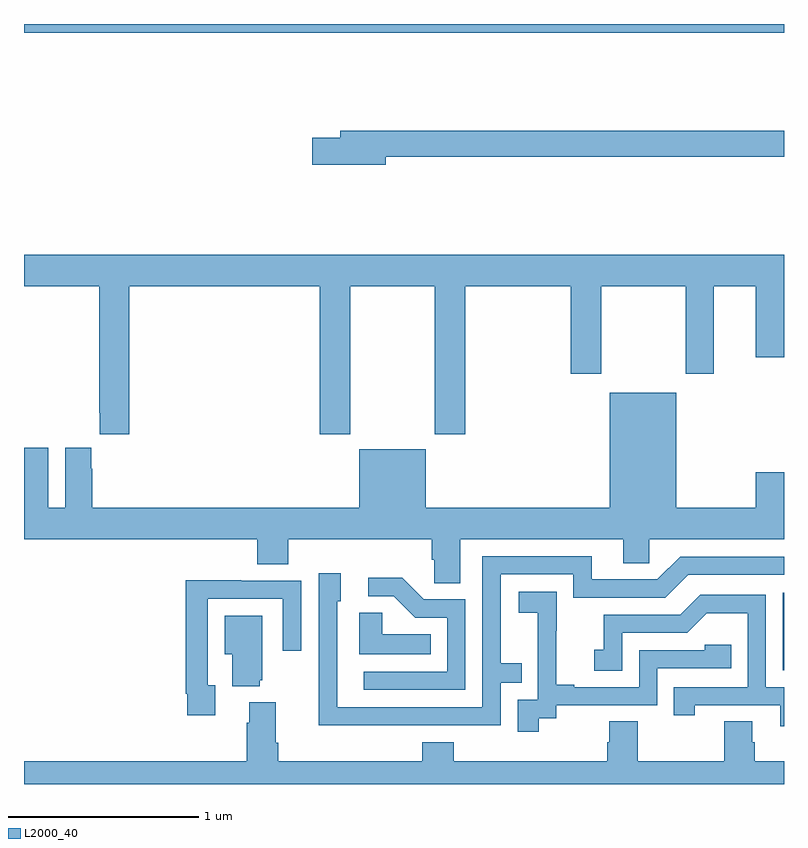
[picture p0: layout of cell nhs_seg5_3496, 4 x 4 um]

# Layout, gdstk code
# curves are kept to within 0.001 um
import gdstk
lib = gdstk.Library(unit=1e-6, precision=1e-09)
def R(c, l, rs):  # rectangles x0, y0, x1, y1
    for r in rs: c.add(gdstk.rectangle(r[:2], r[2:], *l))
def P(c, l, *ps):  # polygons
    for p in ps: c.add(gdstk.Polygon(p, *l))
L2000_40 = (2000, 40)

nhs_seg5_3496 = lib.new_cell('nhs_seg5_3496')
R(nhs_seg5_3496, L2000_40, [(320.994,861.399,321,861.805), (317,864.752,321,864.799)])
P(nhs_seg5_3496, L2000_40, [(318.904,864.1),(321,864.1),(321,864.236),(318.665,864.236),(318.665,864.2),(318.516,864.2),(318.516,864.058),(318.904,864.058)],
  [(317,863.42),(317.395,863.42),(317.395,862.753),(317.399,862.753),(317.399,862.641),(317.555,862.641),(317.555,863.42),(318.557,863.42),(318.557,862.641),(318.717,862.641),(318.717,863.42),(319.162,863.42),(319.162,862.641),(319.322,862.641),(319.322,863.42),(319.877,863.42),(319.877,862.959),(320.037,862.959),(320.037,863.42),(320.482,863.42),(320.482,862.959),(320.629,862.959),(320.629,863.42),(320.852,863.42),(320.852,863.046),(321,863.046),(321,863.584),(317,863.584)],
  [(318.227,861.955),(318.392,861.955),(318.392,862.088),(319.145,862.088),(319.145,861.979),(319.158,861.979),(319.158,861.856),(319.297,861.856),(319.297,862.088),(320.153,862.088),(320.153,861.961),(320.292,861.961),(320.292,862.088),(321,862.088),(321,862.441),(320.852,862.441),(320.852,862.252),(320.434,862.252),(320.434,862.858),(320.084,862.858),(320.084,862.252),(319.114,862.252),(319.114,862.561),(318.764,862.561),(318.764,862.252),(317.36,862.252),(317.36,862.457),(317.353,862.457),(317.353,862.57),(317.216,862.57),(317.216,862.252),(317.128,862.252),(317.128,862.57),(317,862.57),(317,862.088),(318.227,862.088)],
  [(319.013,861.108),(319.509,861.108),(319.509,861.333),(319.619,861.333),(319.619,861.434),(319.509,861.434),(319.509,861.903),(319.89,861.903),(319.89,861.78),(320.376,861.78),(320.496,861.9),(321,861.9),(321,861.996),(320.454,861.996),(320.334,861.876),(319.987,861.876),(319.987,861.999),(319.413,861.999),(319.413,861.204),(318.648,861.204),(318.648,861.762),(318.667,861.762),(318.667,861.907),(318.552,861.907),(318.552,861.413),(318.55,861.413),(318.55,861.107)],
  [(319.323,861.771),(319.104,861.771),(318.991,861.884),(318.813,861.884),(318.813,861.786),(318.947,861.786),(319.058,861.675),(319.227,861.675),(319.227,861.39),(318.789,861.39),(318.789,861.294),(319.323,861.294)],
  [(318.007,861.318),(317.967,861.318),(317.967,861.774),(318.363,861.774),(318.363,861.501),(318.459,861.501),(318.459,861.87),(318.143,861.87),(318.143,861.872),(317.851,861.872),(317.851,861.274),(317.859,861.274),(317.859,861.162),(318.007,861.162)],
  [(319.708,861.145),(319.8,861.145),(319.8,861.213),(320.334,861.213),(320.334,861.408),(320.723,861.408),(320.723,861.531),(320.583,861.531),(320.583,861.504),(320.238,861.504),(320.238,861.309),(319.897,861.309),(319.897,861.322),(319.802,861.322),(319.802,861.605),(319.803,861.605),(319.803,861.811),(319.605,861.811),(319.605,861.701),(319.703,861.701),(319.703,861.473),(319.704,861.473),(319.704,861.243),(319.599,861.243),(319.599,861.075),(319.708,861.075)],
  [(321,861.309),(320.904,861.309),(320.904,861.795),(320.558,861.795),(320.453,861.69),(320.05,861.69),(320.05,861.505),(320.001,861.505),(320.001,861.396),(320.148,861.396),(320.148,861.594),(320.49,861.594),(320.594,861.698),(320.808,861.698),(320.808,861.309),(320.419,861.309),(320.419,861.162),(320.53,861.162),(320.53,861.213),(320.981,861.213),(320.981,861.102),(321,861.102)],
  [(319.142,861.586),(318.885,861.586),(318.885,861.701),(318.764,861.701),(318.764,861.482),(319.142,861.482)],
  [(318.242,861.345),(318.253,861.345),(318.253,861.685),(318.056,861.685),(318.056,861.482),(318.095,861.482),(318.095,861.314),(318.242,861.314)],
  [(321,860.92),(320.846,860.92),(320.846,861.018),(320.833,861.018),(320.833,861.128),(320.686,861.128),(320.686,860.92),(320.229,860.92),(320.229,861.128),(320.081,861.128),(320.081,861.018),(320.069,861.018),(320.069,860.92),(319.262,860.92),(319.262,861.019),(319.097,861.019),(319.097,860.92),(318.338,860.92),(318.338,861.016),(318.325,861.016),(318.325,861.229),(318.185,861.229),(318.185,861.122),(318.173,861.122),(318.173,860.92),(317,860.92),(317,860.799),(321,860.799)])

lib.write_gds('nhs_seg5_3496.gds')
